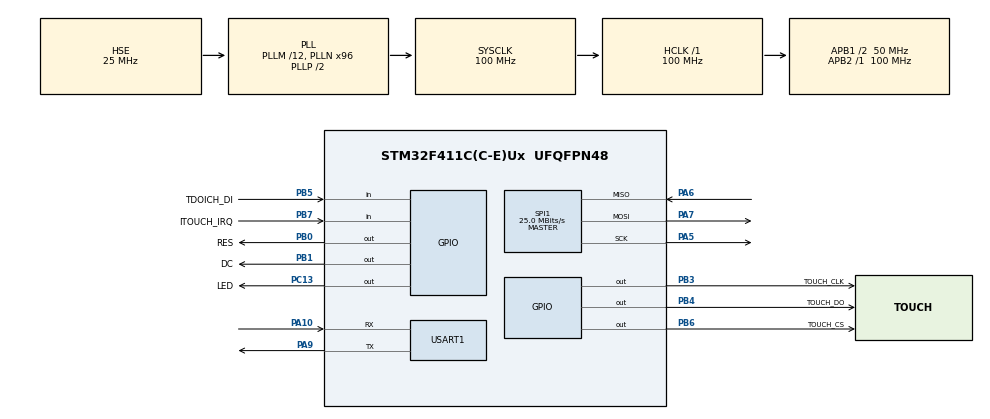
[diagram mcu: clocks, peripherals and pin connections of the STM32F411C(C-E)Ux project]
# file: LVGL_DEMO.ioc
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FREERTOS.Mutexes01=myMutexlv,Dynamic,NULL
FREERTOS.Tasks01=userThread,24,512,startTask,Default,NULL,Dynamic,NULL,NULL;lvGuiThread,24,512,lvGuiTask,Default,NULL,Dynamic,NULL,NULL;ledThread,8,512,ledTask,Default,NULL,Dynamic,NULL,NULL
FREERTOS.configGENERATE_RUN_TIME_STATS=1
FREERTOS.configLIBRARY_LOWEST_INTERRUPT_PRIORITY=15
FREERTOS.configLIBRARY_MAX_SYSCALL_INTERRUPT_PRIORITY=5
FREERTOS.configMINIMAL_STACK_SIZE=128
FREERTOS.configTOTAL_HEAP_SIZE=8192
FREERTOS.configUSE_IDLE_HOOK=1
FREERTOS.configUSE_NEWLIB_REENTRANT=0
FREERTOS.configUSE_TICK_HOOK=1
Mcu.Family=STM32F4
Mcu.Name=STM32F411C(C-E)Ux
Mcu.Package=UFQFPN48
NVIC.PriorityGroup=NVIC_PRIORITYGROUP_4
NVIC.TIM1_BRK_TIM9_IRQn=true\:5\:0\:false\:false\:true\:true\:true\:true\:true
NVIC.TIM1_UP_TIM10_IRQn=true\:5\:0\:false\:false\:true\:true\:true\:true\:true
NVIC.TIM2_IRQn=true\:15\:0\:false\:false\:true\:false\:true\:true\:true
NVIC.TimeBase=TIM2_IRQn
NVIC.TimeBaseIP=TIM2
NVIC.USART1_IRQn=true\:5\:0\:false\:false\:true\:true\:true\:true\:true
PA10.Mode=Asynchronous
PA10.Signal=USART1_RX
PA13.Mode=Serial_Wire
PA13.Signal=SYS_JTMS-SWDIO
PA14.Mode=Serial_Wire
PA14.Signal=SYS_JTCK-SWCLK
PA5.Mode=Full_Duplex_Master
PA5.Signal=SPI1_SCK
PA6.Mode=Full_Duplex_Master
PA6.Signal=SPI1_MISO
PA7.Mode=Full_Duplex_Master
PA7.Signal=SPI1_MOSI
PA9.Mode=Asynchronous
PA9.Signal=USART1_TX
PB0.GPIO_Label=RES
PB0.GPIO_PuPd=GPIO_PULLUP
PB0.GPIO_Speed=GPIO_SPEED_FREQ_HIGH
PB0.PinState=GPIO_PIN_SET
PB0.Signal=GPIO_Output
PB1.GPIO_Label=DC
PB1.GPIO_PuPd=GPIO_PULLUP
PB1.GPIO_Speed=GPIO_SPEED_FREQ_HIGH
PB1.PinState=GPIO_PIN_SET
PB1.Signal=GPIO_Output
PB3.GPIO_Label=TOUCH_CLK
PB3.GPIO_PuPd=GPIO_PULLUP
PB3.GPIO_Speed=GPIO_SPEED_FREQ_HIGH
PB3.PinState=GPIO_PIN_SET
PB3.Signal=GPIO_Output
PB4.GPIO_Label=TOUCH_DO
PB4.GPIO_PuPd=GPIO_PULLUP
PB4.GPIO_Speed=GPIO_SPEED_FREQ_HIGH
PB4.PinState=GPIO_PIN_SET
PB4.Signal=GPIO_Output
PB5.GPIO_Label=TDOICH_DI
PB5.Signal=GPIO_Input
PB6.GPIO_Label=TOUCH_CS
PB6.GPIO_ModeDefaultOutputPP=GPIO_MODE_OUTPUT_PP
PB6.GPIO_PuPd=GPIO_PULLUP
PB6.GPIO_Speed=GPIO_SPEED_FREQ_HIGH
PB6.PinState=GPIO_PIN_SET
PB6.Signal=GPIO_Output
PB7.GPIO_Label=ITOUCH_IRQ
PB7.Signal=GPIO_Input
PC13-ANTI_TAMP.GPIO_Label=LED
PC13-ANTI_TAMP.GPIO_ModeDefaultOutputPP=GPIO_MODE_OUTPUT_PP
PC13-ANTI_TAMP.GPIO_PuPd=GPIO_PULLUP
PC13-ANTI_TAMP.PinState=GPIO_PIN_RESET
PC13-ANTI_TAMP.Signal=GPIO_Output
PC14-OSC32_IN.Mode=LSE-External-Oscillator
PC14-OSC32_IN.Signal=RCC_OSC32_IN
PC15-OSC32_OUT.Mode=LSE-External-Oscillator
PC15-OSC32_OUT.Signal=RCC_OSC32_OUT
PH0\ -\ OSC_IN.Mode=HSE-External-Oscillator
PH0\ -\ OSC_IN.Signal=RCC_OSC_IN
PH1\ -\ OSC_OUT.Mode=HSE-External-Oscillator
PH1\ -\ OSC_OUT.Signal=RCC_OSC_OUT
ProjectManager.HeapSize=0x4000
ProjectManager.StackSize=0x4000
ProjectManager.TargetToolchain=MDK-ARM V5.32
RCC.48MHZClocksFreq_Value=50000000
RCC.AHBFreq_Value=100000000
RCC.APB1CLKDivider=RCC_HCLK_DIV2
RCC.APB1Freq_Value=50000000
RCC.APB1TimFreq_Value=100000000
RCC.APB2Freq_Value=100000000
RCC.APB2TimFreq_Value=100000000
RCC.CortexFreq_Value=100000000
RCC.HCLKFreq_Value=100000000
RCC.HSE_VALUE=25000000
RCC.HSI_VALUE=16000000
RCC.PLLM=12
RCC.PLLN=96
RCC.PLLSourceVirtual=RCC_PLLSOURCE_HSE
RCC.SYSCLKFreq_VALUE=100000000
RCC.SYSCLKSource=RCC_SYSCLKSOURCE_PLLCLK
RCC.VCOOutputFreq_Value=200000000
SPI1.BaudRatePrescaler=SPI_BAUDRATEPRESCALER_4
SPI1.CLKPhase=SPI_PHASE_2EDGE
SPI1.CLKPolarity=SPI_POLARITY_HIGH
SPI1.CalculateBaudRate=25.0 MBits/s
SPI1.Direction=SPI_DIRECTION_2LINES
SPI1.Mode=SPI_MODE_MASTER
SPI1.VirtualType=VM_MASTER
TIM1.Period=999
TIM1.Prescaler=4
USART1.VirtualMode=VM_ASYNC
VP_FREERTOS_VS_CMSIS_V2.Mode=CMSIS_V2
VP_SYS_VS_tim2.Mode=TIM2
VP_TIM1_VS_ClockSourceINT.Mode=Internal
board=custom

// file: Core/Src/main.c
/* USER CODE BEGIN Header */
/**
  ******************************************************************************
  * @file           : main.c
  * @brief          : Main program body
  ******************************************************************************
  * @attention
  *
  * Copyright (c) 2024 STMicroelectronics.
  * All rights reserved.
  *
  * This software is licensed under terms that can be found in the LICENSE file
  * in the root directory of this software component.
  * If no LICENSE file comes with this software, it is provided AS-IS.
  *
  ******************************************************************************
  */
/* USER CODE END Header */
#include "main.h"
#include "cmsis_os.h"
#include "spi.h"
#include "tim.h"
#include "usart.h"
#include "gpio.h"

/* USER CODE BEGIN Includes */
#include "wire.h"
#include "shell.h"
#include "getopt.h"
#include <stdlib.h>

#include "driver_st7789.h"
#include "driver_st7789_basic.h"

#include "lvgl.h"
#include "lv_port_disp_template.h"
#include "lv_port_indev_template.h"
#include "lv_demo_benchmark.h"
/* USER CODE END Includes */

void SystemClock_Config(void);
void MX_FREERTOS_Init(void);

/* USER CODE BEGIN 0 */

//extern const unsigned char gImage_pic[99756];
/* USER CODE END 0 */

int main(void)
{

  /* MCU Configuration--------------------------------------------------------*/

  /* Reset of all peripherals, Initializes the Flash interface and the Systick. */
  HAL_Init();

  /* Configure the system clock */
  SystemClock_Config();

  /* Initialize all configured peripherals */
  MX_GPIO_Init();
  MX_SPI1_Init();
  MX_USART1_UART_Init();
  MX_TIM1_Init();
  /* USER CODE BEGIN 2 */
  lv_init();
  lv_port_disp_init();
  lv_port_indev_init();

  /* USER CODE END 2 */

  /* Init scheduler */
  osKernelInitialize();

  /* Call init function for freertos objects (in freertos.c) */
  MX_FREERTOS_Init();

  /* Start scheduler */
  osKernelStart();

  /* We should never get here as control is now taken by the scheduler */
  /* Infinite loop */
  while (1)
  {

  }
}

void SystemClock_Config(void)
{
  RCC_OscInitTypeDef RCC_OscInitStruct = {0};
  RCC_ClkInitTypeDef RCC_ClkInitStruct = {0};

  /** Configure the main internal regulator output voltage
  */
  __HAL_RCC_PWR_CLK_ENABLE();
  __HAL_PWR_VOLTAGESCALING_CONFIG(PWR_REGULATOR_VOLTAGE_SCALE1);

  /** Initializes the RCC Oscillators according to the specified parameters
  * in the RCC_OscInitTypeDef structure.
  */
  RCC_OscInitStruct.OscillatorType = RCC_OSCILLATORTYPE_HSE;
  RCC_OscInitStruct.HSEState = RCC_HSE_ON;
  RCC_OscInitStruct.PLL.PLLState = RCC_PLL_ON;
  RCC_OscInitStruct.PLL.PLLSource = RCC_PLLSOURCE_HSE;
  RCC_OscInitStruct.PLL.PLLM = 12;
  RCC_OscInitStruct.PLL.PLLN = 96;
  RCC_OscInitStruct.PLL.PLLP = RCC_PLLP_DIV2;
  RCC_OscInitStruct.PLL.PLLQ = 4;
  if (HAL_RCC_OscConfig(&RCC_OscInitStruct) != HAL_OK)
  {
    Error_Handler();
  }

  /** Initializes the CPU, AHB and APB buses clocks
  */
  RCC_ClkInitStruct.ClockType = RCC_CLOCKTYPE_HCLK|RCC_CLOCKTYPE_SYSCLK
                              |RCC_CLOCKTYPE_PCLK1|RCC_CLOCKTYPE_PCLK2;
  RCC_ClkInitStruct.SYSCLKSource = RCC_SYSCLKSOURCE_PLLCLK;
  RCC_ClkInitStruct.AHBCLKDivider = RCC_SYSCLK_DIV1;
  RCC_ClkInitStruct.APB1CLKDivider = RCC_HCLK_DIV2;
  RCC_ClkInitStruct.APB2CLKDivider = RCC_HCLK_DIV1;

  if (HAL_RCC_ClockConfig(&RCC_ClkInitStruct, FLASH_LATENCY_3) != HAL_OK)
  {
    Error_Handler();
  }
}

void HAL_TIM_PeriodElapsedCallback(TIM_HandleTypeDef *htim)
{
  if (htim->Instance == TIM2) {
    HAL_IncTick();
  }
}

void Error_Handler(void)
{
  __disable_irq();
  while (1)
  {
  }
}

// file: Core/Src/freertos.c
/* USER CODE BEGIN Header */
/**
 ******************************************************************************
 * File Name          : freertos.c
 * Description        : Code for freertos applications
 ******************************************************************************
 * @attention
 *
 * Copyright (c) 2024 STMicroelectronics.
 * All rights reserved.
 *
 * This software is licensed under terms that can be found in the LICENSE file
 * in the root directory of this software component.
 * If no LICENSE file comes with this software, it is provided AS-IS.
 *
 ******************************************************************************
 */
/* USER CODE END Header */

#include "FreeRTOS.h"
#include "task.h"
#include "main.h"
#include "cmsis_os.h"

/* USER CODE BEGIN Includes */
#include "usart.h"
#include "lvgl.h"
#include "lv_port_disp_template.h"
#include "lv_demo_benchmark.h"
#include "touch.h"
#include "mygui.h"
/* USER CODE END Includes */

/* USER CODE BEGIN PD */
#define SYSLED (LED_GPIO_Port->BSRR = (((LED_GPIO_Port->ODR & LED_Pin) << 16U) | (~LED_GPIO_Port->ODR & LED_Pin)))
void SysLed()
{
  /* Set selected pins that were at low level, and reset ones that were high */
  LED_GPIO_Port->BSRR = ((LED_GPIO_Port->ODR & LED_Pin) << 16U) | (~LED_GPIO_Port->ODR & LED_Pin);
}
/* USER CODE END PD */

/* USER CODE BEGIN Variables */
osMutexDef(lv);
extern uint16_t Vertical;
extern uint16_t Horizon;
extern key_state_t IRQ;

/* USER CODE END Variables */
/* Definitions for userThread */
osThreadId_t userThreadHandle;
const osThreadAttr_t userThread_attributes = {
  .name = "userThread",
  .stack_size = 512 * 4,
  .priority = (osPriority_t) osPriorityNormal,
};
/* Definitions for lvGuiThread */
osThreadId_t lvGuiThreadHandle;
const osThreadAttr_t lvGuiThread_attributes = {
  .name = "lvGuiThread",
  .stack_size = 512 * 4,
  .priority = (osPriority_t) osPriorityNormal,
};
/* Definitions for ledThread */
osThreadId_t ledThreadHandle;
const osThreadAttr_t ledThread_attributes = {
  .name = "ledThread",
  .stack_size = 512 * 4,
  .priority = (osPriority_t) osPriorityLow,
};
/* Definitions for myMutexlv */
osMutexId_t myMutexlvHandle;
const osMutexAttr_t myMutexlv_attributes = {
  .name = "myMutexlv"
};

void startTask(void *argument);
void lvGuiTask(void *argument);
void ledTask(void *argument);

void MX_FREERTOS_Init(void); /* (MISRA C 2004 rule 8.1) */

/* Hook prototypes */
void configureTimerForRunTimeStats(void);
unsigned long getRunTimeCounterValue(void);
void vApplicationIdleHook(void);
void vApplicationTickHook(void);

/* USER CODE BEGIN 1 */
/* Functions needed when configGENERATE_RUN_TIME_STATS is on */
__weak void configureTimerForRunTimeStats(void)
{
}

__weak unsigned long getRunTimeCounterValue(void)
{
  return 0;
}
/* USER CODE END 1 */

/* USER CODE BEGIN 2 */
void vApplicationIdleHook(void)
{
  /* vApplicationIdleHook() will only be called if configUSE_IDLE_HOOK is set
  to 1 in FreeRTOSConfig.h. It will be called on each iteration of the idle
  task. It is essential that code added to this hook function never attempts
  to block in any way (for example, call xQueueReceive() with a block time
  specified, or call vTaskDelay()). If the application makes use of the
  vTaskDelete() API function (as this demo application does) then it is also
  important that vApplicationIdleHook() is permitted to return to its calling
  function, because it is the responsibility of the idle task to clean up
  memory allocated by the kernel to any task that has since been deleted. */
}
/* USER CODE END 2 */

/* USER CODE BEGIN 3 */
void vApplicationTickHook(void)
{
  /* This function will be called by each tick interrupt if
  configUSE_TICK_HOOK is set to 1 in FreeRTOSConfig.h. User code can be
  added here, but the tick hook is called from an interrupt context, so
  code must not attempt to block, and only the interrupt safe FreeRTOS API
  functions can be used (those that end in FromISR()). */
  lv_tick_inc(1);
}
/* USER CODE END 3 */

void MX_FREERTOS_Init(void) {
  /* USER CODE BEGIN Init */

  // lv_demo_benchmark();
  /* USER CODE END Init */
  /* Create the mutex(es) */
  /* creation of myMutexlv */
  myMutexlvHandle = osMutexNew(&myMutexlv_attributes);

  /* Create the thread(s) */
  /* creation of userThread */
  userThreadHandle = osThreadNew(startTask, NULL, &userThread_attributes);

  /* creation of lvGuiThread */
  lvGuiThreadHandle = osThreadNew(lvGuiTask, NULL, &lvGuiThread_attributes);

  /* creation of ledThread */
  ledThreadHandle = osThreadNew(ledTask, NULL, &ledThread_attributes);

}

void startTask(void *argument)
{
  /* USER CODE BEGIN startTask */

  /* Infinite loop */
  for (;;)
  {
    /*该线程用于检测触摸屏坐标*/
    taskENTER_CRITICAL();
    if (TOUCH_IRQ_READ) IRQ = RELEASE;
    else IRQ = PRESSED;
    Vertical = getcoordinate(CMD_READX);
    Horizon = getcoordinate(CMD_READY);
    taskEXIT_CRITICAL();

    /*其他的任务（如：串口shell任务等）*/

    osDelay(SCAN_PREIOD);
  }
  /* USER CODE END startTask */
}

void lvGuiTask(void *argument)
{
  /* USER CODE BEGIN lvGuiTask */
  //lv_mainstart();
  my_test_demo();
  /* Infinite loop */
  for (;;)
  {
    /*为了保证线程安全，采用互斥锁*/
    osMutexAcquire(myMutexlvHandle, 0xffff);
    lv_task_handler();
    osMutexRelease(myMutexlvHandle);
    vTaskDelay(5);
  }
  /* USER CODE END lvGuiTask */
}

void ledTask(void *argument)
{
  /* USER CODE BEGIN ledTask */

  /* Infinite loop */
  for (;;)
  {
    taskENTER_CRITICAL();
    SYSLED;
    taskEXIT_CRITICAL();
    osDelay(1000);
  }
  /* USER CODE END ledTask */
}

/* USER CODE BEGIN Application */
/*sw callback*/
void sw_callback(lv_event_t *e)
{
}

/* USER CODE END Application */
